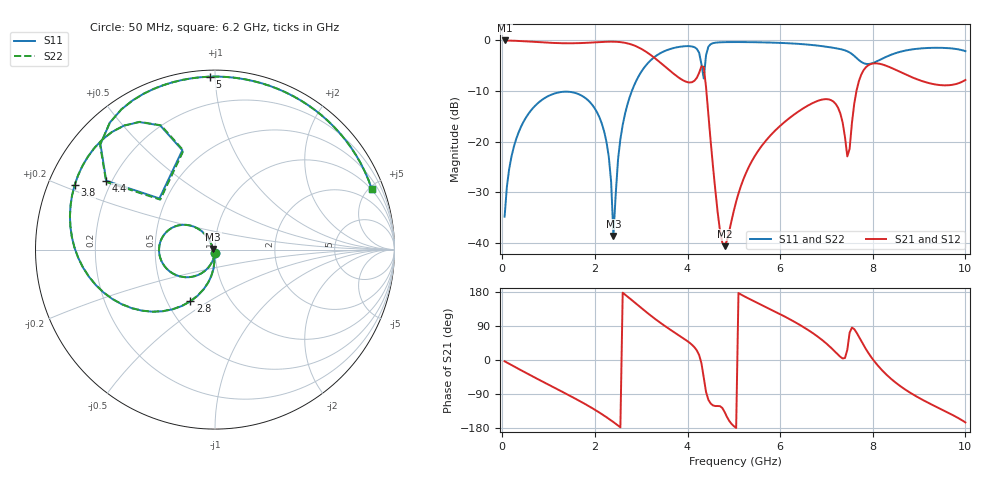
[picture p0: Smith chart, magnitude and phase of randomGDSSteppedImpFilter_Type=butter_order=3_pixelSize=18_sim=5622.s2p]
! freq	dB(S11)	phase(S11)	dB(S12)	phase(S12)
!  dB(S21)	phase(S21)	dB(S22)	phase(S22)
!S-par simulation data
#  GHz  S  DB  R 50
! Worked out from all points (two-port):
!   200 points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, 50 MHz to 10 GHz, reference 50 ohm
!   highest |S21| = -0.01 dB at 50 MHz (marker M1); lowest = -40.6 dB at 4.8 GHz (marker M2)
!   |S21| within 3 dB of the highest: start of sweep to 3.224 GHz
!   lowest |S11| = -38.6 dB at 2.4 GHz (marker M3), VSWR 1.02, Z = 48.9 + j0.289 ohm
!   |S11| at or under -10 dB: start of sweep to 2.797 GHz
!   |S22| runs from -38.3 to -0.3 dB; largest |S21 - S12| = 0
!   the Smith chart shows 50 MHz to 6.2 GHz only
!   S11 on the Smith chart (normalised r, x): 50 MHz: 1.00, -0.04; 2.8 GHz: 0.65, -0.42; 3.8 GHz: 0.08, +0.22; 4.4 GHz: 0.18, +0.28; 5 GHz: 0.04, +0.97; 6.2 GHz: 0.95, +5.20
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0.05  -34.80 -93.2  -0.01 -3.4  -0.01 -3.4  -34.80 -93.2
0.55  -14.68 -126.9  -0.20 -36.5  -0.20 -36.5  -14.68 -126.9
1.75  -11.10 156.5  -0.50 -113.6  -0.50 -113.6  -11.10 156.5
2.25  -20.05 122.7  -0.26 -151.0  -0.26 -151.0  -20.05 123.0
2.4  -38.61 165.4  -0.25 -163.9  -0.25 -163.9  -38.31 166.3
2.55  -19.50 -94.3  -0.33 -177.7  -0.33 -177.7  -19.50 -94.6
2.8  -9.93 -115.4  -0.83 157.7  -0.83 157.7  -9.93 -115.5
3.4  -2.59 -172.3  -4.28 99.3  -4.28 99.3  -2.59 -172.4
3.8  -1.30 155.3  -7.27 66.2  -7.27 66.2  -1.30 155.2
4.3  -4.69 108.2  -5.11 -8.3  -5.11 -8.3  -4.74 107.6
4.4  -2.89 147.7  -9.25 -84.5  -9.25 -84.5  -2.93 148.1
4.8  -0.34 104.1  -40.63 -137.1  -40.63 -137.1  -0.34 104.1
5  -0.32 91.7  -33.62 -174.5  -33.62 -174.5  -0.32 91.8
5.05  -0.32 88.7  -31.82 -179.2  -31.82 -179.2  -0.32 88.8
6.2  -0.57 21.1  -15.34 108.1  -15.34 108.1  -0.57 21.2
6.7  -0.91 -15.1  -12.38 71.4  -12.38 71.4  -0.91 -14.8
7.3  -1.71 -87.4  -14.44 8.3  -14.44 8.3  -1.69 -86.2
7.45  -2.14 -121.0  -22.90 26.8  -22.90 26.8  -2.11 -119.3
7.6  -3.06 -164.9  -12.50 81.5  -12.50 81.5  -3.03 -162.7
7.9  -4.66 111.4  -4.92 19.5  -4.92 19.5  -4.69 113.5
8.35  -3.00 43.3  -5.22 -44.9  -5.22 -44.9  -3.01 44.2
10  -2.12 -71.2  -7.81 -164.7  -7.81 -164.7  -2.10 -70.5
